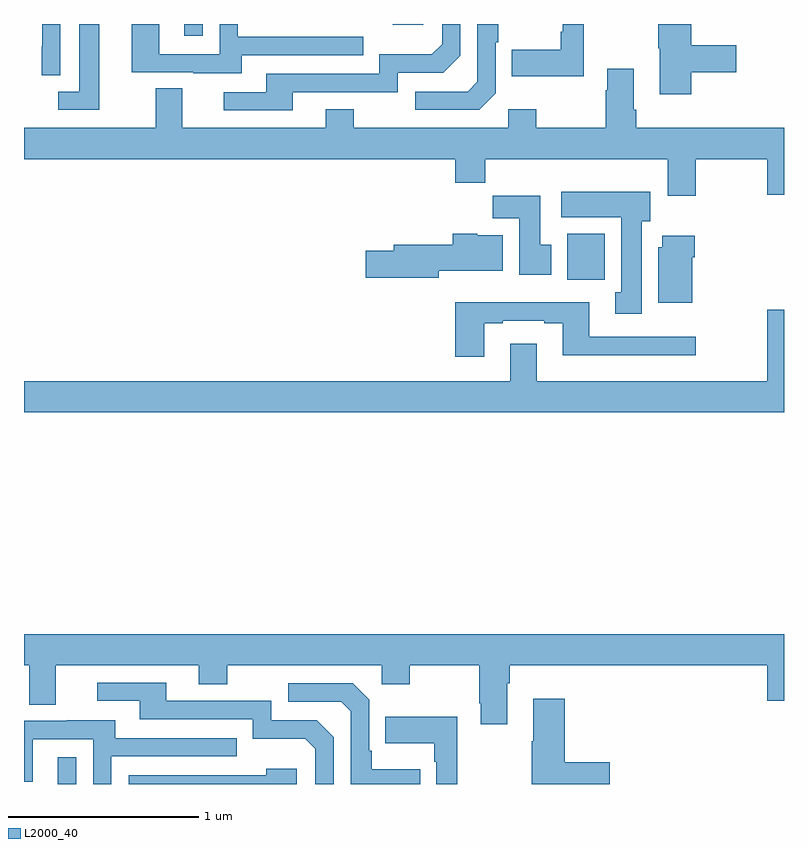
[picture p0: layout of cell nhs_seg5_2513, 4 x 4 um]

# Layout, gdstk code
import gdstk
lib = gdstk.Library(unit=1e-6, precision=1e-09)
def R(c, l, rs):  # rectangles x0, y0, x1, y1
    for r in rs: c.add(gdstk.rectangle(r[:2], r[2:], *l))
def P(c, l, *ps):  # polygons
    for p in ps: c.add(gdstk.Polygon(p, *l))
L2000_40 = (2000, 40)

nhs_seg5_2513 = lib.new_cell('nhs_seg5_2513')
R(nhs_seg5_2513, L2000_40, [(257.177,858.799,257.274,858.94), (259.859,861.452,260.056,861.694), (257.843,862.737,257.94,862.799), (258.941,862.796,259.102,862.799)])
P(nhs_seg5_2513, L2000_40, [(257.19,862.799),(257.096,862.799),(257.096,862.682),(257.094,862.682),(257.094,862.528),(257.19,862.528)],
  [(259.945,862.799),(259.836,862.799),(259.836,862.759),(259.824,862.759),(259.824,862.663),(259.567,862.663),(259.567,862.523),(259.945,862.523)],
  [(258.415,862.44),(258.966,862.44),(258.966,862.542),(259.206,862.542),(259.296,862.632),(259.296,862.799),(259.2,862.799),(259.2,862.692),(259.147,862.639),(258.87,862.639),(258.87,862.536),(258.275,862.536),(258.275,862.44),(258.051,862.44),(258.051,862.344),(258.415,862.344)],
  [(259.482,862.434),(259.482,862.703),(259.495,862.703),(259.495,862.799),(259.386,862.799),(259.386,862.494),(259.335,862.443),(259.059,862.443),(259.059,862.347),(259.395,862.347)],
  [(260.513,862.546),(260.749,862.546),(260.749,862.688),(260.513,862.688),(260.513,862.799),(260.338,862.799),(260.338,862.671),(260.345,862.671),(260.345,862.428),(260.513,862.428)],
  [(258.145,862.635),(258.785,862.635),(258.785,862.731),(258.126,862.731),(258.126,862.799),(258.03,862.799),(258.03,862.641),(257.712,862.641),(257.712,862.799),(257.567,862.799),(257.567,862.545),(257.891,862.545),(257.891,862.541),(258.145,862.541)],
  [(257.395,862.799),(257.291,862.799),(257.291,862.443),(257.181,862.443),(257.181,862.347),(257.395,862.347)],
  [(258.735,862.351),(258.587,862.351),(258.587,862.252),(257.833,862.252),(257.833,862.46),(257.693,862.46),(257.693,862.252),(257,862.252),(257,862.088),(259.271,862.088),(259.271,861.964),(259.427,861.964),(259.427,862.088),(260.387,862.088),(260.387,861.894),(260.535,861.894),(260.535,862.088),(260.912,862.088),(260.912,861.9),(261,861.9),(261,862.252),(260.222,862.252),(260.222,862.348),(260.209,862.348),(260.209,862.564),(260.069,862.564),(260.069,862.451),(260.062,862.451),(260.062,862.252),(259.695,862.252),(259.695,862.351),(259.548,862.351),(259.548,862.252),(258.735,862.252)],
  [(260.251,861.762),(260.296,861.762),(260.296,861.916),(259.827,861.916),(259.827,861.782),(260.144,861.782),(260.144,861.386),(260.111,861.386),(260.111,861.273),(260.251,861.273)],
  [(259.774,861.636),(259.717,861.636),(259.717,861.895),(259.468,861.895),(259.468,861.776),(259.607,861.776),(259.607,861.48),(259.774,861.48)],
  [(259.182,861.5),(259.519,861.5),(259.519,861.688),(259.386,861.688),(259.386,861.694),(259.256,861.694),(259.256,861.636),(258.947,861.636),(258.947,861.606),(258.798,861.606),(258.798,861.464),(259.182,861.464)],
  [(260.518,861.572),(260.531,861.572),(260.531,861.685),(260.36,861.685),(260.36,861.624),(260.339,861.624),(260.339,861.332),(260.518,861.332)],
  [(259.423,861.225),(259.519,861.225),(259.519,861.237),(259.739,861.237),(259.739,861.225),(259.835,861.225),(259.835,861.056),(260.536,861.056),(260.536,861.153),(259.975,861.153),(259.975,861.334),(259.271,861.334),(259.271,861.048),(259.423,861.048)],
  [(261,861.295),(260.912,861.295),(260.912,860.92),(259.699,860.92),(259.699,861.115),(259.559,861.115),(259.559,860.92),(257,860.92),(257,860.756),(261,860.756)],
  [(259.543,859.328),(259.556,859.328),(259.556,859.424),(260.912,859.424),(260.912,859.236),(261,859.236),(261,859.588),(257,859.588),(257,859.424),(257.027,859.424),(257.027,859.216),(257.167,859.216),(257.167,859.424),(257.921,859.424),(257.921,859.325),(258.069,859.325),(258.069,859.424),(258.882,859.424),(258.882,859.325),(259.029,859.325),(259.029,859.424),(259.396,859.424),(259.396,859.225),(259.403,859.225),(259.403,859.113),(259.543,859.113)],
  [(258.63,859.044),(258.54,859.134),(258.3,859.134),(258.3,859.236),(257.749,859.236),(257.749,859.332),(257.385,859.332),(257.385,859.236),(257.609,859.236),(257.609,859.14),(258.204,859.14),(258.204,859.037),(258.481,859.037),(258.534,858.984),(258.534,858.799),(258.63,858.799)],
  [(259.085,858.877),(258.829,858.877),(258.829,858.973),(258.816,858.973),(258.816,859.242),(258.729,859.329),(258.392,859.329),(258.392,859.233),(258.669,859.233),(258.72,859.182),(258.72,858.799),(259.085,858.799)],
  [(260.083,858.914),(259.847,858.914),(259.847,859.249),(259.679,859.249),(259.679,859.025),(259.672,859.025),(259.672,858.799),(260.083,858.799)],
  [(259.279,859.153),(258.901,859.153),(258.901,859.013),(259.158,859.013),(259.158,858.917),(259.17,858.917),(259.17,858.799),(259.279,858.799)],
  [(257.46,858.945),(258.119,858.945),(258.119,859.041),(257.479,859.041),(257.479,859.135),(257.225,859.135),(257.225,859.131),(257,859.131),(257,858.811),(257.046,858.811),(257.046,859.035),(257.364,859.035),(257.364,858.799),(257.46,858.799)],
  [(258.436,858.88),(258.275,858.88),(258.275,858.846),(257.55,858.846),(257.55,858.799),(258.436,858.799)])

lib.write_gds('nhs_seg5_2513.gds')
